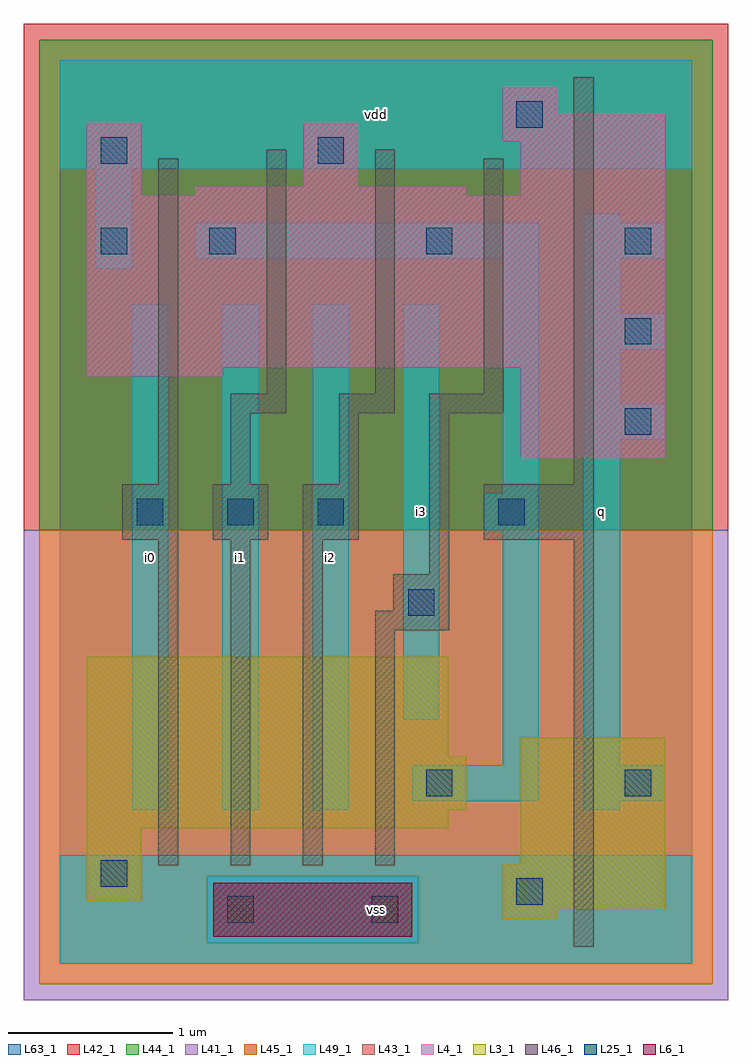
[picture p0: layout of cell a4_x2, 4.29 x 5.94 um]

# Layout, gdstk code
import gdstk
lib = gdstk.Library(unit=1e-6, precision=1e-09)
def R(c, l, rs):  # rectangles x0, y0, x1, y1
    for r in rs: c.add(gdstk.rectangle(r[:2], r[2:], *l))
def A(c, l, x, y, w, h, nx, ny, dx, dy):  # array of equal rectangles
    R(c, l, [(x+i*dx, y+j*dy, x+i*dx+w, y+j*dy+h) for i in range(nx) for j in range(ny)])
L3_1 = (3, 1)
L4_1 = (4, 1)
L6_1 = (6, 1)
L25_1 = (25, 1)
L41_1 = (41, 1)
L42_1 = (42, 1)
L43_1 = (43, 1)
L44_1 = (44, 1)
L45_1 = (45, 1)
L46_1 = (46, 1)
L49_1 = (49, 1)
L63_1 = (63, 1)

a4_x2 = lib.new_cell('a4_x2')
R(a4_x2, L3_1, [(2.695,0.275,3.025,0.33), (2.695,0.33,3.685,0.605), (0.165,0.385,0.495,0.825), (2.805,0.605,3.685,1.375), (0.165,0.825,2.365,0.935), (0.165,0.935,2.475,1.265), (0.165,1.265,2.365,1.87)])
R(a4_x2, L4_1, [(2.805,3.08,3.685,3.63), (0.165,3.575,0.99,3.63), (0.165,3.63,3.685,4.675), (0.165,4.675,0.495,5.115), (0.825,4.675,2.475,4.73), (2.805,4.675,3.685,5.005), (1.485,4.73,1.815,5.115), (2.695,5.005,3.685,5.17), (2.695,5.17,3.025,5.335)])
R(a4_x2, L6_1, [(0.935,0.165,2.145,0.495)])
A(a4_x2, L25_1, 0.47, 2.67, 0.16, 0.16, 3, 1, 0.55, 0)
A(a4_x2, L25_1, 3.44, 3.22, 0.16, 0.16, 1, 3, 0, 0.55)
R(a4_x2, L25_1, [(1.02,0.25,1.18,0.41), (1.9,0.25,2.06,0.41), (2.78,0.36,2.94,0.52), (0.25,0.47,0.41,0.63), (2.23,1.02,2.39,1.18), (3.44,1.02,3.6,1.18), (2.12,2.12,2.28,2.28), (2.67,2.67,2.83,2.83), (0.25,4.32,0.41,4.48), (0.91,4.32,1.07,4.48), (2.23,4.32,2.39,4.48), (0.25,4.87,0.41,5.03), (1.57,4.87,1.73,5.03), (2.78,5.09,2.94,5.25)])
R(a4_x2, L41_1, [(-0.22,-0.22,4.07,2.64)])
R(a4_x2, L42_1, [(-0.22,2.64,4.07,5.72)])
R(a4_x2, L43_1, [(0.935,0.165,2.145,0.495), (2.695,0.275,3.025,0.33), (2.695,0.33,3.685,0.605), (0.165,0.385,0.495,0.825), (2.805,0.605,3.685,1.375), (0.165,0.825,2.365,0.935), (0.165,0.935,2.475,1.265), (0.165,1.265,2.365,1.87), (2.805,3.08,3.685,3.63), (0.165,3.575,0.99,3.63), (0.165,3.63,3.685,4.675), (0.165,4.675,0.495,5.115), (0.825,4.675,2.475,4.73), (2.805,4.675,3.685,5.005), (1.485,4.73,1.815,5.115), (2.695,5.005,3.685,5.17), (2.695,5.17,3.025,5.335)])
R(a4_x2, L44_1, [(0.895,0.125,2.185,0.535), (-0.125,2.64,3.975,5.625)])
R(a4_x2, L45_1, [(-0.125,-0.125,3.975,0.125), (-0.125,0.125,0.895,0.535), (2.185,0.125,3.975,0.535), (-0.125,0.535,3.975,2.64)])
A(a4_x2, L46_1, 0.6, 0.6, 0.12, 1.98, 3, 1, 0.44, 0)
A(a4_x2, L46_1, 0.38, 2.58, 0.34, 0.34, 3, 1, 0.55, 0)
R(a4_x2, L46_1, [(3.13,0.105,3.25,2.58), (1.92,0.6,2.04,2.03), (1.92,2.03,2.37,2.15), (2.03,2.15,2.37,2.37), (2.25,2.37,2.37,3.35), (2.58,2.58,3.25,2.92), (0.6,2.92,0.72,4.9), (1.04,2.92,1.16,3.35), (1.7,2.92,1.82,3.35), (3.13,2.92,3.25,5.395), (1.04,3.35,1.38,3.47), (1.7,3.35,2.04,3.47), (2.25,3.35,2.7,3.47), (1.26,3.47,1.38,4.955), (1.92,3.47,2.04,4.955), (2.58,3.47,2.7,4.9)])
A(a4_x2, L49_1, 0.44, 0.935, 0.22, 3.08, 3, 1, 0.55, 0)
A(a4_x2, L49_1, 3.19, 3.19, 0.495, 0.22, 1, 3, 0, 0.55)
R(a4_x2, L49_1, [(0,0,3.85,0.66), (3.19,0.935,3.41,0.99), (2.145,0.99,2.915,1.21), (3.19,0.99,3.685,1.21), (2.695,1.21,2.915,2.64), (3.19,1.21,3.41,3.19), (2.09,1.485,2.31,4.015), (2.585,2.64,2.915,2.86), (2.695,2.86,2.915,4.29), (3.19,3.41,3.41,3.74), (3.19,3.96,3.41,4.29), (0.22,4.235,0.44,4.84), (0.825,4.29,2.915,4.51), (3.19,4.51,3.41,4.565), (0,4.84,3.85,5.5)])
R(a4_x2, L63_1, [(0,0,3.85,5.5)])
a4_x2.add(gdstk.Label('i0', (0.55,2.475), layer=49, texttype=1))
a4_x2.add(gdstk.Label('i1', (1.1,2.475), layer=49, texttype=1))
a4_x2.add(gdstk.Label('i2', (1.65,2.475), layer=49, texttype=1))
a4_x2.add(gdstk.Label('vss', (1.925,0.33), layer=49, texttype=1))
a4_x2.add(gdstk.Label('i3', (2.2,2.75), layer=49, texttype=1))
a4_x2.add(gdstk.Label('vdd', (1.925,5.17), layer=49, texttype=1))
a4_x2.add(gdstk.Label('q', (3.3,2.75), layer=49, texttype=1))

lib.write_gds('a4_x2.gds')
